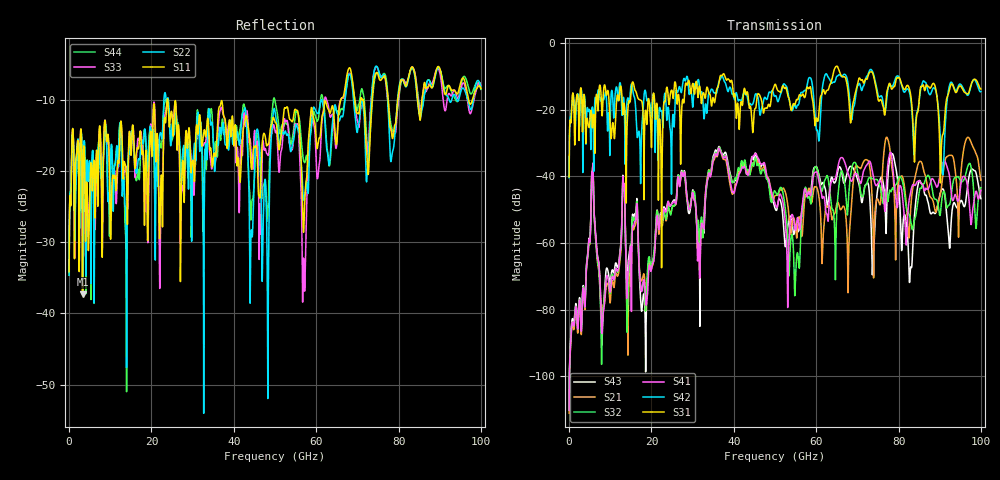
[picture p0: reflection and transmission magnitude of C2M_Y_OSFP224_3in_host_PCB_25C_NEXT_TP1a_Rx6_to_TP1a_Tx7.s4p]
# GHz S RI R 45
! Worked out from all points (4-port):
!   4000 points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, 25 MHz to 100 GHz, reference 45 ohm
!   strongest paths, dB at 25 MHz, 25.02 GHz, 50.02 GHz, 75.03 GHz, 100 GHz:
!     S31: -40.2, -14.4, -12.4, -16.8, -13.8
!     S42: -40.4, -26.7, -15.9, -15.6, -14.6
!     S41: -110.3, -48.3, -48.2, -42.1, -44.2
!     S32: -110.2, -49.5, -44.5, -41.4, -43.4
!     S21: -111.2, -49.5, -45.9, -47.0, -41.2
!     S43: -109.3, -48.0, -49.6, -43.3, -46.7
!   lowest |S11| = -37.3 dB at 3.275 GHz (marker M1), VSWR 1.03, Z = 46.2 - j0.225 ohm
!   |S11| at or under -10 dB: start of sweep to 23.81 GHz; 24 GHz to 66 GHz (42 GHz wide, 93.3 % of centre); 77.5 GHz to 79.78 GHz (2.28 GHz wide, 2.9 % of centre) (the widest 3 of 7)
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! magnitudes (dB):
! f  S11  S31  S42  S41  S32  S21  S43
! 25 MHz  -34.1  -40.2  -40.4  -110.3  -110.2  -111.2  -109.3
! 3.275 GHz  -37.3  -26.7  -24.5  -75.6  -75.4  -76.0  -75.0
! 5.725 GHz  -22.2  -24.8  -19.5  -37.7  -38.0  -37.9  -37.8
! 18.3 GHz  -27.3  -28.6  -14.8  -71.7  -73.5  -70.0  -76.7
! 36.2 GHz  -12.0  -13.1  -12.7  -32.4  -32.4  -33.0  -31.7
! 55.02 GHz  -11.3  -17.8  -19.3  -56.3  -69.9  -55.5  -55.4
! 100 GHz  -8.3  -13.8  -14.6  -44.2  -43.4  -41.2  -46.7
